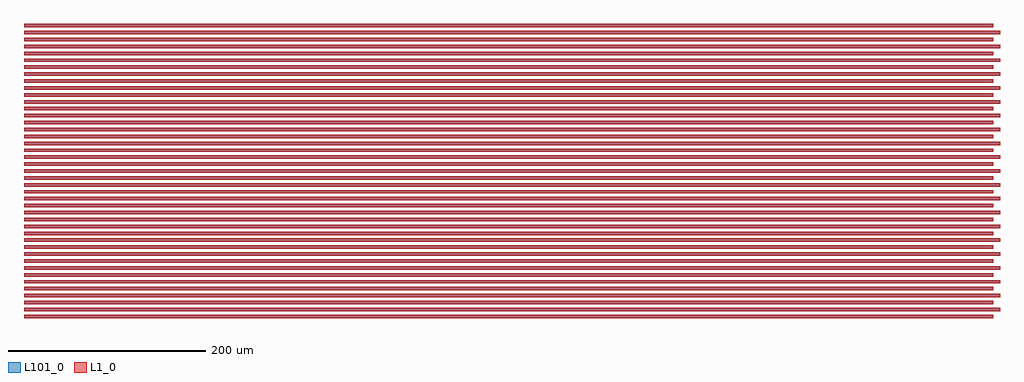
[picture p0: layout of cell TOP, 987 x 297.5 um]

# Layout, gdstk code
from math import pi, radians
import gdstk
lib = gdstk.Library(unit=1e-6, precision=1e-09)
def R(c, l, rs):  # rectangles x0, y0, x1, y1
    for r in rs: c.add(gdstk.rectangle(r[:2], r[2:], *l))
def A(c, l, x, y, w, h, nx, ny, dx, dy):  # array of equal rectangles
    R(c, l, [(x+i*dx, y+j*dy, x+i*dx+w, y+j*dy+h) for i in range(nx) for j in range(ny)])
L1_0 = (1, 0)
L101_0 = (101, 0)

stick = lib.new_cell('STICK')
R(stick, L1_0, [(0,0,10.5,3.5)])

bar = lib.new_cell('BAR')
R(bar, L1_0, [(0,243.25,3.5,1223.25)])

bars = lib.new_cell('BARS')
A(bars, L101_0, 0, 337.75, 980, 3.5, 1, 22, 0, 14)
r = gdstk.Reference(bar, (1223.25,635.25), rotation=3*pi/2, x_reflection=True); r.repetition = gdstk.Repetition(43, 1, v1=(0,-7), v2=(0,0)); bars.add(r)

top = lib.new_cell('TOP')
A(top, L101_0, 51222.5, -465.5, 980, 3.5, 1, 21, 0, 14)
A(top, L101_0, 52199, -465.5, 10.5, 3.5, 1, 21, 0, 14)
r = gdstk.Reference(stick, (52209.5,-465.5), rotation=pi, x_reflection=True); r.repetition = gdstk.Repetition(1, 21, v1=(0,0), v2=(0,14)); top.add(r)
top.add(gdstk.Reference(bars, (51222.5,-810.25)))

lib.write_gds('TOP.gds')
